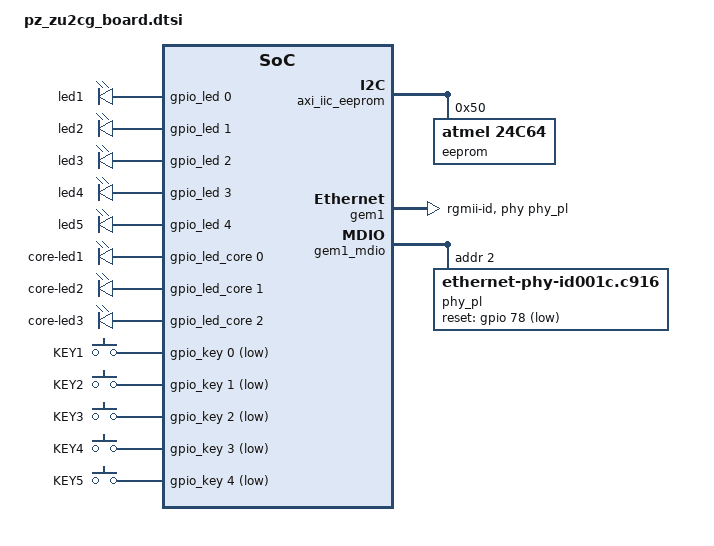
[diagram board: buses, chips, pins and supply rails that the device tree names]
// SPDX-License-Identifier: GPL-2.0
/*
 * PZ-ZU2CG Linux reference design: board-level devices on the PL peripherals
 * Generated by tools/gen_pl_dts.py from projects/pz_zu2cg_linux/pz_zu2cg_linux.xsa
 * - do not edit; change the generator or the Vivado design and regenerate.
 */

#include <dt-bindings/gpio/gpio.h>
#include <dt-bindings/input/input.h>

/ {
	leds {
		compatible = "gpio-leds";

		led1 {
			label = "led1";
			gpios = <&gpio_led 0 GPIO_ACTIVE_HIGH>;
		};

		led2 {
			label = "led2";
			gpios = <&gpio_led 1 GPIO_ACTIVE_HIGH>;
		};

		led3 {
			label = "led3";
			gpios = <&gpio_led 2 GPIO_ACTIVE_HIGH>;
		};

		led4 {
			label = "led4";
			gpios = <&gpio_led 3 GPIO_ACTIVE_HIGH>;
		};

		led5 {
			label = "led5";
			gpios = <&gpio_led 4 GPIO_ACTIVE_HIGH>;
		};

		core-led1 {
			label = "core-led1";
			gpios = <&gpio_led_core 0 GPIO_ACTIVE_HIGH>;
			linux,default-trigger = "heartbeat";
		};

		core-led2 {
			label = "core-led2";
			gpios = <&gpio_led_core 1 GPIO_ACTIVE_HIGH>;
		};

		core-led3 {
			label = "core-led3";
			gpios = <&gpio_led_core 2 GPIO_ACTIVE_HIGH>;
		};
	};

	gpio-keys {
		compatible = "gpio-keys";
		autorepeat;

		key1 {
			label = "KEY1";
			linux,code = <BTN_0>;
			gpios = <&gpio_key 0 GPIO_ACTIVE_LOW>;
			debounce-interval = <20>;
		};

		key2 {
			label = "KEY2";
			linux,code = <BTN_1>;
			gpios = <&gpio_key 1 GPIO_ACTIVE_LOW>;
			debounce-interval = <20>;
		};

		key3 {
			label = "KEY3";
			linux,code = <BTN_2>;
			gpios = <&gpio_key 2 GPIO_ACTIVE_LOW>;
			debounce-interval = <20>;
		};

		key4 {
			label = "KEY4";
			linux,code = <BTN_3>;
			gpios = <&gpio_key 3 GPIO_ACTIVE_LOW>;
			debounce-interval = <20>;
		};

		key5 {
			label = "KEY5";
			linux,code = <BTN_4>;
			gpios = <&gpio_key 4 GPIO_ACTIVE_LOW>;
			debounce-interval = <20>;
		};
	};
};

&axi_iic_eeprom {
	eeprom@50 {
		compatible = "atmel,24c64";
		reg = <0x50>;
		pagesize = <32>;
	};
};

/*
 * RTL8211F on the PL RGMII port (the Puzhi manual says KSZ9031, but the PHY ID registers
 * read 0x001c/0xc916). The gmii_to_rgmii core adds no clock skew (its MMCM outputs are
 * all at 0 degrees), so the PHY must add both RGMII delays. The Realtek driver sets them
 * only for rgmii* modes, so GEM1 is described as rgmii-id even though it talks GMII to the
 * core: on ZynqMP that only changes a USRIO write, which GEM0 (RGMII on MIO) also does.
 * Checked on hardware for GEM0 only (2026-11-14); the PL port is still untested.
 * The PHY is held in reset by EMIO GPIO 0 (PS GPIO line 78) until Linux releases it,
 * so its ID can't be probed: the compatible names it.
 */
&gem1 {
	phy-mode = "rgmii-id";
	phy-handle = <&phy_pl>;
};

&gem1_mdio {
	phy_pl: ethernet-phy@2 {
		compatible = "ethernet-phy-id001c.c916", "ethernet-phy-ieee802.3-c22";
		reg = <2>;
		reset-gpios = <&gpio 78 GPIO_ACTIVE_LOW>;
		reset-assert-us = <10000>;
		reset-deassert-us = <1000>;
	};
};

&gmii_to_rgmii_0 {
	phy-handle = <&phy_pl>;
};

/* JM1 header: GPIO line = connector pin */
&gpio_jm1 {
	gpio-line-names = "JM1-5", "JM1-6", "JM1-7", "JM1-8", "JM1-9", "JM1-10", "JM1-11", "JM1-12",
		"JM1-13", "JM1-14", "JM1-15", "JM1-16", "JM1-17", "JM1-18", "JM1-19", "JM1-20",
		"JM1-21", "JM1-22", "JM1-23", "JM1-24", "JM1-25", "JM1-26", "JM1-27", "JM1-28",
		"JM1-29", "JM1-30", "JM1-31", "JM1-32", "JM1-37", "JM1-38", "JM1-39", "JM1-40";
};

/* J19 header: GPIO line = connector pin */
&gpio_j19 {
	gpio-line-names = "J19-9", "J19-10", "J19-11", "J19-12", "J19-15", "J19-16", "J19-17", "J19-18",
		"J19-21", "J19-22", "J19-23", "J19-24", "J19-27", "J19-28", "J19-29", "J19-30",
		"J19-33", "J19-34", "J19-35", "J19-36", "J19-39", "J19-40", "J19-41", "J19-42",
		"J19-45", "J19-46", "J19-47", "J19-48", "J19-51", "J19-52", "J19-53", "J19-54";
};

/* J20 header: GPIO line = connector pin */
&gpio_j20 {
	gpio-line-names = "J20-9", "J20-10", "J20-11", "J20-12", "J20-15", "J20-16", "J20-17", "J20-18",
		"J20-21", "J20-22", "J20-23", "J20-24", "J20-27", "J20-28", "J20-29", "J20-30",
		"J20-33", "J20-34", "J20-35", "J20-36", "J20-39", "J20-40", "J20-41", "J20-42",
		"J20-45", "J20-46", "J20-47", "J20-48", "J20-51", "J20-52", "J20-53", "J20-54",
		"J20-57", "J20-58", "J20-59", "J20-60", "J20-63", "J20-64", "J20-65", "J20-66",
		"J20-69", "J20-70", "J20-71", "J20-72", "J20-75", "J20-76", "J20-77", "J20-78";
};
